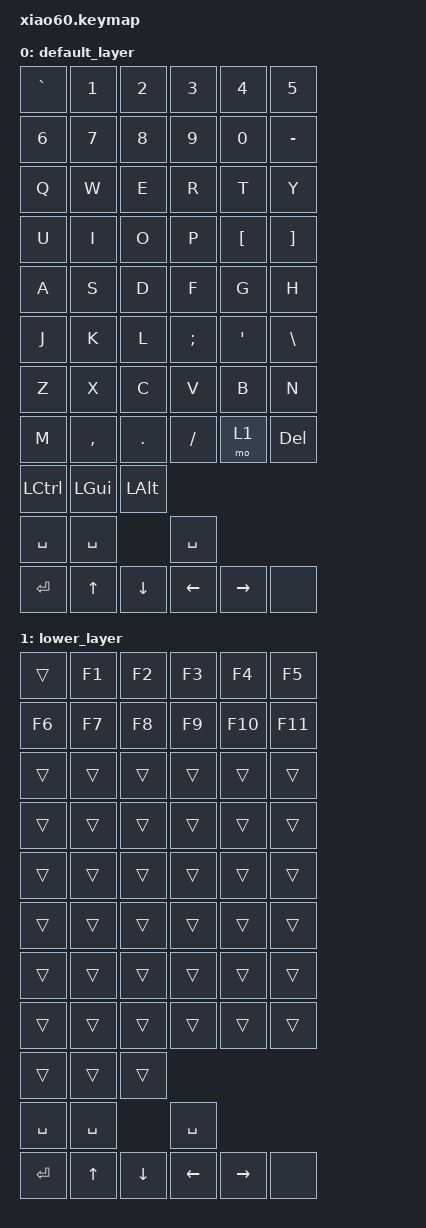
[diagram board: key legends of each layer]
// dummy
#include <behaviors.dtsi>
#include <dt-bindings/zmk/keys.h>
#include <dt-bindings/zmk/bt.h>
#include <dt-bindings/zmk/outputs.h>

/ {
    keymap {
        compatible = "zmk,keymap";

        default_layer {
            bindings = <
                /* Row0 */
                &kp GRAVE &kp N1 &kp N2 &kp N3 &kp N4 &kp N5
                &kp N6 &kp N7 &kp N8 &kp N9 &kp N0 &kp MINUS

                /* Row1 */
                &kp Q &kp W &kp E &kp R &kp T &kp Y
                &kp U &kp I &kp O &kp P &kp LBKT &kp RBKT

                /* Row2 */
                &kp A &kp S &kp D &kp F &kp G &kp H
                &kp J &kp K &kp L &kp SEMI &kp SQT &kp BSLH

                /* Row3 */
                &kp Z &kp X &kp C &kp V &kp B &kp N
                &kp M &kp COMMA &kp DOT &kp FSLH &mo 1 &kp DEL

                /* Row4 */
                &kp LCTRL &kp LGUI &kp LALT
                &kp SPACE &kp SPACE &kp SPACE
                &kp ENTER &kp UP &kp DOWN &kp LEFT &kp RIGHT &none
            >;
        };

        lower_layer {
            bindings = <
                &trans &kp F1 &kp F2 &kp F3 &kp F4 &kp F5
                &kp F6 &kp F7 &kp F8 &kp F9 &kp F10 &kp F11

                &trans &trans &trans &trans &trans &trans
                &trans &trans &trans &trans &trans &trans

                &trans &trans &trans &trans &trans &trans
                &trans &trans &trans &trans &trans &trans

                &trans &trans &trans &trans &trans &trans
                &trans &trans &trans &trans &trans &trans

                &trans &trans &trans
                &kp SPACE &kp SPACE &kp SPACE
                &kp ENTER &kp UP &kp DOWN &kp LEFT &kp RIGHT &none
            >;
        };
    };
};
